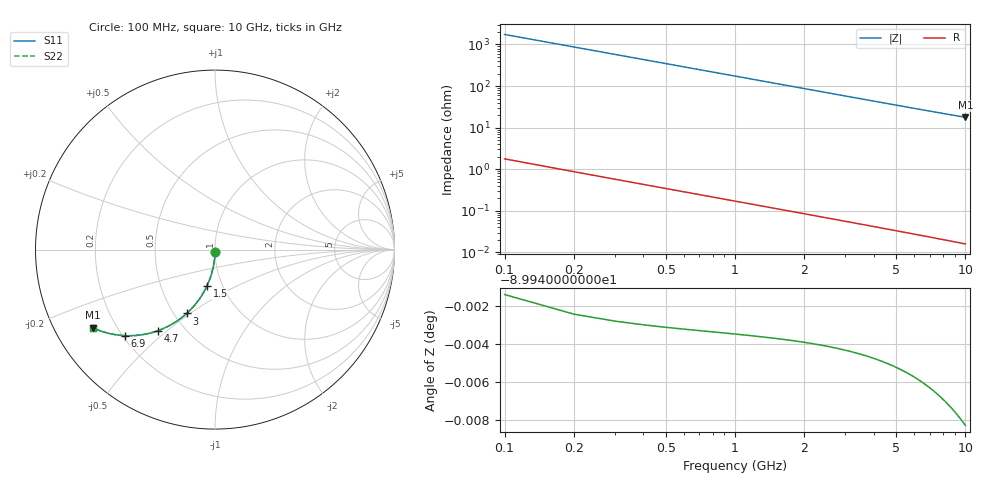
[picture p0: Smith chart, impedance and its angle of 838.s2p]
# Hz S RI R 50.00
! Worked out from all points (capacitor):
!   100 points, 100 MHz to 10 GHz, reference 50 ohm
!   read as one part in shunt: C = 914 fF near 100 MHz
!   lowest |Z| = 17.8 ohm at 10 GHz (marker M1)
!   S11 on the Smith chart (normalised r, x): 100 MHz: 1.00, -0.03; 1.5 GHz: 0.85, -0.36; 3 GHz: 0.58, -0.48; 4.7 GHz: 0.36, -0.47; 6.9 GHz: 0.21, -0.39; 10 GHz: 0.11, -0.29
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1e8  -0.000168 -0.0141  0.9997 -0.0146  0.9997 -0.0146  -0.000168 -0.0141
2e8  -0.000799 -0.0281  0.9991 -0.0292  0.9991 -0.0292  -0.000799 -0.0281
3e8  -0.00184 -0.0421  0.9981 -0.0438  0.9981 -0.0438  -0.00184 -0.0421
4e8  -0.00329 -0.0561  0.9966 -0.0584  0.9966 -0.0584  -0.00329 -0.0561
5e8  -0.00514 -0.07  0.9947 -0.0728  0.9947 -0.0728  -0.00514 -0.07
6e8  -0.00739 -0.0838  0.9925 -0.0872  0.9925 -0.0872  -0.00739 -0.0838
7e8  -0.01 -0.0975  0.9898 -0.1015  0.9898 -0.1015  -0.01 -0.0975
9e8  -0.0165 -0.1246  0.9834 -0.1296  0.9834 -0.1296  -0.0165 -0.1246
1.2e9  -0.029 -0.164  0.9709 -0.1708  0.9709 -0.1708  -0.029 -0.164
1.5e9  -0.0445 -0.2017  0.9553 -0.2102  0.9553 -0.2102  -0.0445 -0.2017
1.8e9  -0.0629 -0.2374  0.9369 -0.2476  0.9369 -0.2476  -0.0629 -0.2374
2.4e9  -0.1068 -0.3017  0.893 -0.3153  0.893 -0.3153  -0.1068 -0.3017
3e9  -0.1576 -0.3555  0.8421 -0.3726  0.8421 -0.3726  -0.1576 -0.3555
3.4e9  -0.194 -0.3853  0.8057 -0.4047  0.8057 -0.4047  -0.194 -0.3853
4e9  -0.2503 -0.4213  0.7493 -0.4442  0.7493 -0.4442  -0.2503 -0.4213
4.7e9  -0.3161 -0.451  0.6834 -0.478  0.6834 -0.478  -0.3161 -0.451
5.1e9  -0.3528 -0.4627  0.6467 -0.4921  0.6467 -0.4921  -0.3528 -0.4627
5.9e9  -0.4226 -0.4764  0.5767 -0.5106  0.5767 -0.5106  -0.4226 -0.4764
6.7e9  -0.4864 -0.4798  0.5127 -0.5188  0.5127 -0.5188  -0.4864 -0.4798
6.9e9  -0.5014 -0.4794  0.4977 -0.5196  0.4977 -0.5196  -0.5014 -0.4794
8.4e9  -0.6001 -0.4645  0.3986 -0.5139  0.3986 -0.5139  -0.6001 -0.4645
1e10  -0.6818 -0.4352  0.3163 -0.4946  0.3163 -0.4946  -0.6818 -0.4352
